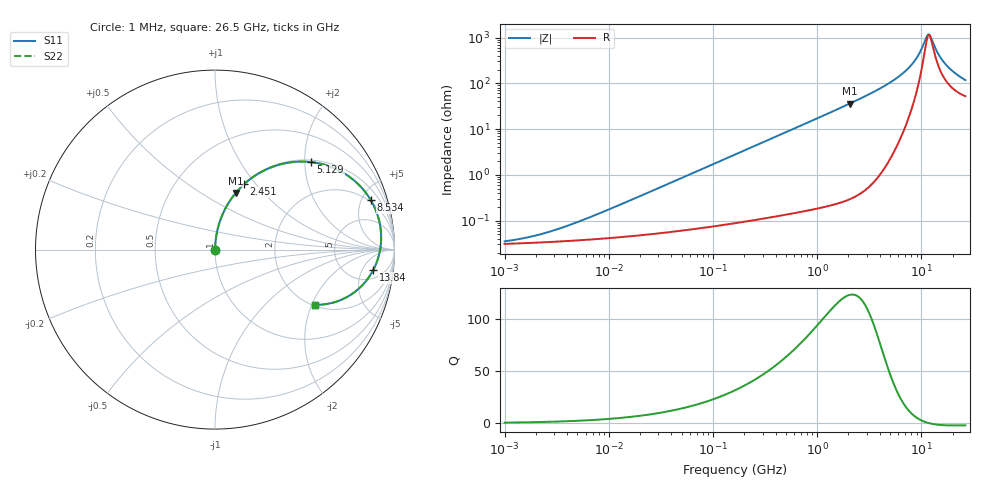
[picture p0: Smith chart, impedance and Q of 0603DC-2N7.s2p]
# MHz  S  MA  R  50
!Freq  MagS11  AngS11  MagS21  AngS21  MagS12  AngS12  MagS22  AngS22
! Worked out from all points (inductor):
!   801 points, 1 MHz to 26.5 GHz, reference 50 ohm
!   read as one part in series: L = 2.7 nH near 6.837 MHz
!   highest Q = 123 at 2.051 GHz (marker M1), where L = 2.78 nH
!   self-resonance near 11.92 GHz
!   S11 on the Smith chart (normalised r, x): 1 MHz: 1.00, +0.00; 2.451 GHz: 1.01, +0.87; 5.129 GHz: 1.05, +2.15; 8.534 GHz: 1.83, +5.91; 13.84 GHz: 8, -8; 26.5 GHz: 2.05, -2.10
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1  0.0003516 28.8  0.9997 -0.0  0.9997 -0.0  0.0003516 28.8
2.230132  0.0005031 48.7  0.9997 -0.0  0.9997 -0.0  0.0005031 48.7
5.506729  0.001005 68.2  0.9996 -0.1  0.9996 -0.1  0.001005 68.2
29.94045  0.005103 83.8  0.9995 -0.3  0.9995 -0.3  0.005103 83.8
162.7882  0.0276 86.6  0.9987 -1.6  0.9987 -1.6  0.0276 86.6
896.4305  0.151 80.7  0.9868 -8.7  0.9868 -8.7  0.151 80.7
2050.715  0.3369 69.8  0.9388 -19.7  0.9388 -19.7  0.3369 69.8
2450.824  0.3975 66.1  0.9144 -23.4  0.9144 -23.4  0.3975 66.1
3456.183  0.5375 56.9  0.8376 -32.5  0.8376 -32.5  0.5375 56.9
4873.952  0.6994 44.5  0.701 -44.4  0.701 -44.4  0.6994 44.5
5128.584  0.7236 42.4  0.6741 -46.3  0.6741 -46.3  0.7236 42.4
6873.308  0.8493 28.8  0.4822 -58.0  0.4822 -58.0  0.8493 28.8
8534.14  0.9108 17.6  0.305 -64.4  0.305 -64.4  0.9108 17.6
9570.206  0.9267 11.5  0.2061 -63.5  0.2061 -63.5  0.9267 11.5
11008.82  0.928 4.1  0.09949 -41.7  0.09949 -41.7  0.928 4.1
11583.96  0.9236 1.5  0.08019 -17.0  0.08019 -17.0  0.9236 1.5
12345.32  0.9146 -1.8  0.0903 18.1  0.0903 18.1  0.9146 -1.8
13844.08  0.8893 -7.3  0.1632 43.8  0.1632 43.8  0.8893 -7.3
15524.78  0.8543 -12.4  0.2472 47.9  0.2472 47.9  0.8543 -12.4
17858.5  0.8019 -18.0  0.3428 46.2  0.3428 46.2  0.8019 -18.0
21616.28  0.7214 -24.2  0.4519 40.8  0.4519 40.8  0.7214 -24.2
26500  0.634 -29.0  0.5408 34.6  0.5408 34.6  0.634 -29.0
